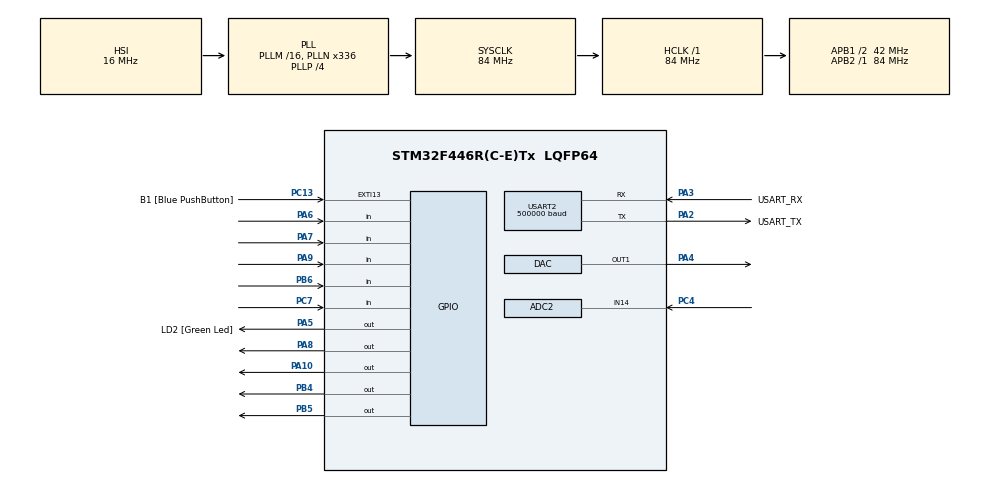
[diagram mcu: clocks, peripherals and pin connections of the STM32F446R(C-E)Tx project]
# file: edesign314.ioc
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ADC2.Channel-3\#ChannelRegularConversion=ADC_CHANNEL_14
ADC2.DMAContinuousRequests=ENABLE
ADC2.ExternalTrigConv=ADC_EXTERNALTRIGCONV_T3_TRGO
ADC2.NbrOfConversionFlag=1
ADC2.Rank-3\#ChannelRegularConversion=1
ADC2.Resolution=ADC_RESOLUTION_8B
ADC2.SamplingTime-3\#ChannelRegularConversion=ADC_SAMPLETIME_3CYCLES
DAC.DAC_Trigger=DAC_TRIGGER_T4_TRGO
Dma.ADC2.1.Direction=DMA_PERIPH_TO_MEMORY
Dma.ADC2.1.FIFOMode=DMA_FIFOMODE_DISABLE
Dma.ADC2.1.Instance=DMA2_Stream2
Dma.ADC2.1.MemDataAlignment=DMA_MDATAALIGN_BYTE
Dma.ADC2.1.MemInc=DMA_MINC_ENABLE
Dma.ADC2.1.Mode=DMA_CIRCULAR
Dma.ADC2.1.PeriphDataAlignment=DMA_PDATAALIGN_BYTE
Dma.ADC2.1.PeriphInc=DMA_PINC_DISABLE
Dma.ADC2.1.Priority=DMA_PRIORITY_LOW
Dma.DAC1.0.Direction=DMA_MEMORY_TO_PERIPH
Dma.DAC1.0.FIFOMode=DMA_FIFOMODE_DISABLE
Dma.DAC1.0.Instance=DMA1_Stream5
Dma.DAC1.0.MemDataAlignment=DMA_MDATAALIGN_HALFWORD
Dma.DAC1.0.MemInc=DMA_MINC_ENABLE
Dma.DAC1.0.Mode=DMA_NORMAL
Dma.DAC1.0.PeriphDataAlignment=DMA_PDATAALIGN_HALFWORD
Dma.DAC1.0.PeriphInc=DMA_PINC_DISABLE
Dma.DAC1.0.Priority=DMA_PRIORITY_LOW
Dma.Request0=DAC1
Dma.Request1=ADC2
Dma.Request2=USART2_TX
Dma.USART2_TX.2.Direction=DMA_MEMORY_TO_PERIPH
Dma.USART2_TX.2.FIFOMode=DMA_FIFOMODE_DISABLE
Dma.USART2_TX.2.Instance=DMA1_Stream6
Dma.USART2_TX.2.MemDataAlignment=DMA_MDATAALIGN_BYTE
Dma.USART2_TX.2.MemInc=DMA_MINC_ENABLE
Dma.USART2_TX.2.Mode=DMA_NORMAL
Dma.USART2_TX.2.PeriphDataAlignment=DMA_PDATAALIGN_BYTE
Dma.USART2_TX.2.PeriphInc=DMA_PINC_DISABLE
Dma.USART2_TX.2.Priority=DMA_PRIORITY_LOW
Mcu.Family=STM32F4
Mcu.Name=STM32F446R(C-E)Tx
Mcu.Package=LQFP64
NVIC.DMA1_Stream5_IRQn=true\:0\:0\:false\:false\:true\:false\:true
NVIC.DMA1_Stream6_IRQn=true\:0\:0\:false\:false\:true\:false\:true
NVIC.DMA2_Stream2_IRQn=true\:0\:0\:false\:false\:true\:false\:true
NVIC.PriorityGroup=NVIC_PRIORITYGROUP_0
NVIC.TIM2_IRQn=true\:0\:0\:false\:false\:true\:true\:true
PA10.Signal=GPIO_Output
PA13.GPIO_Label=TMS
PA13.Mode=Serial_Wire
PA13.Signal=SYS_JTMS-SWDIO
PA14.GPIO_Label=TCK
PA14.Mode=Serial_Wire
PA14.Signal=SYS_JTCK-SWCLK
PA2.GPIO_Label=USART_TX
PA2.Mode=Asynchronous
PA2.Signal=USART2_TX
PA3.GPIO_Label=USART_RX
PA3.Mode=Asynchronous
PA3.Signal=USART2_RX
PA4.Signal=COMP_DAC1_group
PA5.GPIO_Label=LD2 [Green Led]
PA5.Signal=GPIO_Output
PA6.GPIO_PuPd=GPIO_PULLDOWN
PA6.Signal=GPIO_Input
PA7.GPIO_PuPd=GPIO_PULLDOWN
PA7.Signal=GPIO_Input
PA8.Signal=GPIO_Output
PA9.GPIO_PuPd=GPIO_PULLDOWN
PA9.Signal=GPIO_Input
PB3.GPIO_Label=SWO
PB3.Signal=SYS_JTDO-SWO
PB4.Signal=GPIO_Output
PB5.Signal=GPIO_Output
PB6.GPIO_PuPd=GPIO_PULLDOWN
PB6.Signal=GPIO_Input
PC13.GPIO_Label=B1 [Blue PushButton]
PC13.GPIO_ModeDefaultEXTI=GPIO_MODE_IT_FALLING
PC13.Signal=GPXTI13
PC14-OSC32_IN.Mode=LSE-External-Oscillator
PC14-OSC32_IN.Signal=RCC_OSC32_IN
PC15-OSC32_OUT.Mode=LSE-External-Oscillator
PC15-OSC32_OUT.Signal=RCC_OSC32_OUT
PC4.Signal=ADCx_IN14
PC7.GPIO_PuPd=GPIO_PULLDOWN
PC7.Signal=GPIO_Input
PH0-OSC_IN.Mode=HSE-External-Oscillator
PH0-OSC_IN.Signal=RCC_OSC_IN
PH1-OSC_OUT.Mode=HSE-External-Oscillator
PH1-OSC_OUT.Signal=RCC_OSC_OUT
ProjectManager.HeapSize=0x200
ProjectManager.StackSize=0x400
ProjectManager.TargetToolchain=STM32CubeIDE
RCC.48MHZClocksFreq_Value=84000000
RCC.AHBFreq_Value=84000000
RCC.APB1CLKDivider=RCC_HCLK_DIV2
RCC.APB1Freq_Value=42000000
RCC.APB1TimFreq_Value=84000000
RCC.APB2Freq_Value=84000000
RCC.APB2TimFreq_Value=84000000
RCC.CortexFreq_Value=84000000
RCC.FLatency-AdvancedSettings=FLASH_LATENCY_2
RCC.HCLKFreq_Value=84000000
RCC.HSE_VALUE=8000000
RCC.HSI_VALUE=16000000
RCC.PLLN=336
RCC.PLLP=RCC_PLLP_DIV4
RCC.SYSCLKFreq_VALUE=84000000
RCC.SYSCLKSource=RCC_SYSCLKSOURCE_PLLCLK
RCC.USBFreq_Value=168000000
RCC.VCOOutputFreq_Value=336000000
SH.ADCx_IN14.0=ADC2_IN14,IN14
SH.COMP_DAC1_group.0=DAC_OUT1,DAC_OUT1
TIM2.Period=500
TIM2.Prescaler=41999
TIM3.Period=1905
TIM3.TIM_MasterOutputTrigger=TIM_TRGO_UPDATE
TIM4.Period=1905
TIM4.TIM_MasterOutputTrigger=TIM_TRGO_UPDATE
USART2.BaudRate=500000
USART2.VirtualMode=VM_ASYNC
VP_TIM2_VS_ClockSourceINT.Mode=Internal
VP_TIM3_VS_ClockSourceINT.Mode=Internal
VP_TIM4_VS_ClockSourceINT.Mode=Internal
board=NUCLEO-F446RE

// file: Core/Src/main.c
/* USER CODE BEGIN Header */
/**
  ******************************************************************************
  * @file           : main.c
  * @brief          : Main program body
  ******************************************************************************
  * The work of Sandra Snyman (20826702) for Design E314, 2020.
  *
  *
  * @attention
  *
  * <h2><center>&copy; Copyright (c) 2020 STMicroelectronics.
  * All rights reserved.</center></h2>
  *
  * This software component is licensed by ST under BSD 3-Clause license,
  * the "License"; You may not use this file except in compliance with the
  * License. You may obtain a copy of the License at:
  *                        opensource.org/licenses/BSD-3-Clause
  *
  ******************************************************************************
  */
/* USER CODE END Header */

#include "main.h"

/* USER CODE BEGIN Includes */
#include "sinewave.h"
/* USER CODE END Includes */

ADC_HandleTypeDef hadc2;
DMA_HandleTypeDef hdma_adc2;

DAC_HandleTypeDef hdac;
DMA_HandleTypeDef hdma_dac1;

TIM_HandleTypeDef htim2;
TIM_HandleTypeDef htim3;
TIM_HandleTypeDef htim4;

UART_HandleTypeDef huart2;
DMA_HandleTypeDef hdma_usart2_tx;

/* USER CODE BEGIN PV */

enum states{Stop, Play, Record};
enum states myState;

extern volatile uint8_t toggle;

uint8_t button1 = 0;   	//PA6
uint8_t button2 = 0;	//PB6
uint8_t button3 = 0;	//PC7
uint8_t buttonrec = 0;	//PA9
uint8_t buttonstop = 0;	//PA7

uint32_t buttonStopTick = 0;

uint16_t sine440[1024] = {0};
uint16_t sine523[1024] = {0};
uint16_t sinesum[1024] = {0};

uint8_t track[1024];
/* USER CODE END PV */

void SystemClock_Config(void);
static void MX_GPIO_Init(void);
static void MX_DMA_Init(void);
static void MX_TIM2_Init(void);
static void MX_USART2_UART_Init(void);
static void MX_DAC_Init(void);
static void MX_TIM4_Init(void);
static void MX_ADC2_Init(void);
static void MX_TIM3_Init(void);

/* USER CODE BEGIN 0 */
void HAL_ADC_ConvCpltCallback(ADC_HandleTypeDef* hadc) {
	huart2.gState = HAL_UART_STATE_READY;
	HAL_UART_Transmit_DMA(&huart2, track+512, 512);
}

void HAL_ADC_ConvHalfCpltCallback(ADC_HandleTypeDef* hadc) {
	huart2.gState = HAL_UART_STATE_READY;
	HAL_UART_Transmit_DMA(&huart2, track, 512);
}
/* USER CODE END 0 */

int main(void)
{

  /* MCU Configuration--------------------------------------------------------*/

  /* Reset of all peripherals, Initializes the Flash interface and the Systick. */
  HAL_Init();

  /* USER CODE BEGIN Init */
  wave_init();
  /* USER CODE END Init */

  /* Configure the system clock */
  SystemClock_Config();

  /* Initialize all configured peripherals */
  MX_GPIO_Init();
  MX_DMA_Init();
  MX_TIM2_Init();
  MX_USART2_UART_Init();
  MX_DAC_Init();
  MX_TIM4_Init();
  MX_ADC2_Init();
  MX_TIM3_Init();
  /* USER CODE BEGIN 2 */
  __HAL_TIM_ENABLE(&htim2);
   __HAL_TIM_ENABLE_IT(&htim2, TIM_IT_UPDATE);
   __HAL_TIM_ENABLE(&htim3);
   //HAL_TIM_Base_Start(&htim3);
   HAL_TIM_Base_Start(&htim4);

  uint8_t begin = 0; //used in every state for every track to trigger the actions that need to happen only once
  uint32_t refTick = 0;
  uint8_t playing = 0;

  uint32_t button1Tick = 0; //counter to save how long button has been high
  uint32_t button2Tick = 0;
  uint32_t button3Tick = 0;

  uint8_t startup_msg[10] = {127, 128, '2', '0', '8', '2', '6', '7', '0', '2'};
  uint8_t record_msg[10] = {127, 128, 'R', 'e', 'c', 'o', 'r', 'd', '_', '_'};
  uint8_t playback_msg[10] = {127, 128, 'P', 'l', 'a', 'y', '_', '_', '_', '_'};
  uint8_t stop_msg[10] = {127, 128, 'S', 't', 'o', 'p', '_', '_', '_', '_'};

  wave_fillbuffer(sine440, 1, 1024);
  wave_fillbuffer(sine523, 2, 1024);
  wave_fillbuffer(sinesum, 3, 1024);

  myState = Stop;
  //STOP is state 1, PLAY is state 2, RECORD is state 3
  HAL_UART_Transmit(&huart2, startup_msg, 10, 1000);
  /* USER CODE END 2 */

  /* Infinite loop */
  /* USER CODE BEGIN WHILE */
  while (1)
  {
	  refTick = HAL_GetTick();
	  if (myState == Stop) {
		  allLEDSoff();

		  //if button 1 is high, add to counter
		  if (HAL_GPIO_ReadPin(GPIOA, GPIO_PIN_6)) {
			  button1Tick += (HAL_GetTick() - refTick);
			  if (button1Tick >= 10) button1 = 1;
		  }
		  else button1Tick = 0;

		  //if button 2 is high, add to counter
		  if (HAL_GPIO_ReadPin(GPIOB, GPIO_PIN_6)) {
			  button2Tick += (HAL_GetTick() - refTick);
			  if (button2Tick >= 10) button2 = 1;
		  }
		  else button2Tick = 0;

		  //if button 3 is high, add to counter
		  if (HAL_GPIO_ReadPin(GPIOC, GPIO_PIN_7)) {
			  button3Tick += (HAL_GetTick() - refTick);
			  if (button3Tick >= 10) button3 = 1;
		  }
		  else button3Tick = 0;

		  if (HAL_GPIO_ReadPin(GPIOA, GPIO_PIN_9) && (button1 || button2 || button3)){
			  myState = Record;
			  begin = 1;
			  buttonstop = 0;
		  }
		  else if ((button1)||(button2)||(button3)) {
			  myState = Play;
			  begin = 1;
			  buttonstop = 0;
		  }
		  if (buttonstop)
			  myState = Stop;
	  }

	  if (myState == Play) {
		  if (HAL_GPIO_ReadPin(GPIOA, GPIO_PIN_7)) {
			  buttonStopTick += (HAL_GetTick() - refTick);
			  if (buttonStopTick >= 10) buttonstop = 1;
		  }
		  else {
			  buttonStopTick = 0;
		  }

		  if (button1 && !HAL_GPIO_ReadPin(GPIOA, GPIO_PIN_6)) {
			    if (begin && !playing) {
			    	//if this is the beginning of the playback, send UART message and start timer
			    	playback_msg[9] = '1';
			    	HAL_UART_Transmit(&huart2, playback_msg, 10, 1000);
					begin = 0; //to ensure this block is executed only once in playback time
					 HAL_DAC_Start_DMA(&hdac, DAC_CHANNEL_1, (uint32_t*) sine440, 1024, DAC_ALIGN_12B_R);
					 playing = 1;
			    }
			   if (!(buttonstop && !HAL_GPIO_ReadPin(GPIOA, GPIO_PIN_7))) {
				   //if not exceeded max length, and stop is not pressed, flash LED
				   HAL_GPIO_WritePin(GPIOA, GPIO_PIN_8, toggle);
			   }
			   else {
				   button1 = 0;
				   HAL_DAC_Stop_DMA(&hdac, DAC_CHANNEL_1);
				   myState = Stop;
				   playing = 0;
				   HAL_UART_Transmit(&huart2, stop_msg, 10, 1000);
			   }
		  }

		  else if (button2 && !HAL_GPIO_ReadPin(GPIOB, GPIO_PIN_6)) {
			    if (begin && !playing) {
			    	//if this is the beginning of the playback, send UART message and start timer
			    	playback_msg[9] = '2';
			    	HAL_UART_Transmit(&huart2, playback_msg, 10, 1000);
					begin = 0; //to ensure this block is executed only once in playback time
					HAL_DAC_Start_DMA(&hdac, DAC_CHANNEL_1, (uint32_t*) sine523, 1024, DAC_ALIGN_12B_R);
					playing = 1;
			    }
			   if (!(buttonstop && !HAL_GPIO_ReadPin(GPIOA, GPIO_PIN_7))) {
				   HAL_GPIO_WritePin(GPIOB, GPIO_PIN_4, toggle);
			   }
			   else {
				   button2 = 0;
				   HAL_DAC_Stop_DMA(&hdac, DAC_CHANNEL_1);
				   myState = Stop;
				   playing = 0;
				   HAL_UART_Transmit(&huart2, stop_msg, 10, 1000);
			   }
		  }
		  else if (button3 && !HAL_GPIO_ReadPin(GPIOC, GPIO_PIN_7)) {
			    if (begin && !playing) {
			    	//if this is the beginning of the playback, send UART message and start timer
			    	playback_msg[9] = '3';
			    	HAL_UART_Transmit(&huart2, playback_msg, 10, 1000);
					begin = 0; //to ensure this block is executed only once in playback time
					HAL_DAC_Start_DMA(&hdac, DAC_CHANNEL_1, (uint32_t*) sinesum, 1024, DAC_ALIGN_12B_R);
					playing = 1;
			    }
			  if (!(buttonstop && !HAL_GPIO_ReadPin(GPIOA, GPIO_PIN_7))) {
				   HAL_GPIO_WritePin(GPIOB, GPIO_PIN_5, toggle);
			   }	//LED 3
			  else {
				  button3 = 0;
				  HAL_DAC_Stop_DMA(&hdac, DAC_CHANNEL_1);
				  myState = Stop;
				  playing = 0;
				  HAL_UART_Transmit(&huart2, stop_msg, 10, 1000);
			  }
		  }
		  else myState = Stop;
	  }

	  if (myState == Record) {
		  if (HAL_GPIO_ReadPin(GPIOA, GPIO_PIN_7)) {
			  buttonStopTick += (HAL_GetTick() - refTick);
			  if (buttonStopTick >= 10) buttonstop = 1;
		  }
		  else {
			  buttonStopTick = 0;
		  }
		  if (button1 && !HAL_GPIO_ReadPin(GPIOA, GPIO_PIN_6)) {
			    if (begin) {
			    	//if this is the beginning of the recording, turn REC LED on, send UART message and start timer
			    	HAL_GPIO_WritePin(GPIOA, GPIO_PIN_10, 1);
			    	record_msg[9] = '1';
			    	HAL_UART_Transmit(&huart2, record_msg, 10, 1000);
					begin = 0; //to ensure this block is executed only once in recording time
					HAL_ADC_Start_DMA(&hadc2, (uint32_t*) track, 1024);
			    }
			  //While stop button has not been pressed, flash LED
			  if (!(buttonstop && !HAL_GPIO_ReadPin(GPIOA, GPIO_PIN_7))) {
				  HAL_GPIO_WritePin(GPIOA, GPIO_PIN_8, toggle);
			  }
			  else {
				  button1 = 0;
				  myState = Stop;
				  HAL_UART_DMAStop(&huart2);
				  HAL_UART_Transmit(&huart2, stop_msg, 10, 1000);
				  HAL_ADC_Stop_DMA(&hadc2);

			  }
		  }
		  else if (button2 && !HAL_GPIO_ReadPin(GPIOB, GPIO_PIN_6)) {
			    if (begin) {
			    	//if this is the beginning of the recording, turn REC LED on, send UART message and start timer
			    	HAL_GPIO_WritePin(GPIOA, GPIO_PIN_10, 1);
			    	record_msg[9] = '2';
			    	HAL_UART_Transmit(&huart2, record_msg, 10, 1000);
					begin = 0; //to ensure this block is executed only once in recording time
			    }
				   if (!(buttonstop && !HAL_GPIO_ReadPin(GPIOA, GPIO_PIN_7))) {
					   HAL_GPIO_WritePin(GPIOB, GPIO_PIN_4, toggle);
				   }
				   else {
					   button2 = 0;
					   myState = Stop;
					   HAL_UART_Transmit(&huart2, stop_msg, 10, 1000);
				   }
		  }
		  else if (button3 && !HAL_GPIO_ReadPin(GPIOC, GPIO_PIN_7)) {
			    if (begin) {
			    	//if this is the beginning of the recording, turn REC LED on, send UART message and start timer
			    	HAL_GPIO_WritePin(GPIOA, GPIO_PIN_10, 1);
			    	record_msg[9] = '3';
			    	HAL_UART_Transmit(&huart2, record_msg, 10, 1000);
					begin = 0; //to ensure this block is executed only once in recording time
			    }
				   if (!(buttonstop && !HAL_GPIO_ReadPin(GPIOA, GPIO_PIN_7))) {
					   HAL_GPIO_WritePin(GPIOB, GPIO_PIN_5, toggle);
				   }
				   else {
					   button3 = 0;
					   myState = Stop;
					   HAL_UART_Transmit(&huart2, stop_msg, 10, 1000);
				   }
			  }

	  }

    /* USER CODE END WHILE */

  }
}

void SystemClock_Config(void)
{
  RCC_OscInitTypeDef RCC_OscInitStruct = {0};
  RCC_ClkInitTypeDef RCC_ClkInitStruct = {0};

  /** Configure the main internal regulator output voltage
  */
  __HAL_RCC_PWR_CLK_ENABLE();
  __HAL_PWR_VOLTAGESCALING_CONFIG(PWR_REGULATOR_VOLTAGE_SCALE3);
  /** Initializes the CPU, AHB and APB busses clocks
  */
  RCC_OscInitStruct.OscillatorType = RCC_OSCILLATORTYPE_HSI;
  RCC_OscInitStruct.HSIState = RCC_HSI_ON;
  RCC_OscInitStruct.HSICalibrationValue = RCC_HSICALIBRATION_DEFAULT;
  RCC_OscInitStruct.PLL.PLLState = RCC_PLL_ON;
  RCC_OscInitStruct.PLL.PLLSource = RCC_PLLSOURCE_HSI;
  RCC_OscInitStruct.PLL.PLLM = 16;
  RCC_OscInitStruct.PLL.PLLN = 336;
  RCC_OscInitStruct.PLL.PLLP = RCC_PLLP_DIV4;
  RCC_OscInitStruct.PLL.PLLQ = 2;
  RCC_OscInitStruct.PLL.PLLR = 2;
  if (HAL_RCC_OscConfig(&RCC_OscInitStruct) != HAL_OK)
  {
    Error_Handler();
  }
  /** Initializes the CPU, AHB and APB busses clocks
  */
  RCC_ClkInitStruct.ClockType = RCC_CLOCKTYPE_HCLK|RCC_CLOCKTYPE_SYSCLK
                              |RCC_CLOCKTYPE_PCLK1|RCC_CLOCKTYPE_PCLK2;
  RCC_ClkInitStruct.SYSCLKSource = RCC_SYSCLKSOURCE_PLLCLK;
  RCC_ClkInitStruct.AHBCLKDivider = RCC_SYSCLK_DIV1;
  RCC_ClkInitStruct.APB1CLKDivider = RCC_HCLK_DIV2;
  RCC_ClkInitStruct.APB2CLKDivider = RCC_HCLK_DIV1;

  if (HAL_RCC_ClockConfig(&RCC_ClkInitStruct, FLASH_LATENCY_2) != HAL_OK)
  {
    Error_Handler();
  }
}

static void MX_ADC2_Init(void)
{

  ADC_ChannelConfTypeDef sConfig = {0};

  /** Configure the global features of the ADC (Clock, Resolution, Data Alignment and number of conversion)
  */
  hadc2.Instance = ADC2;
  hadc2.Init.ClockPrescaler = ADC_CLOCK_SYNC_PCLK_DIV4;
  hadc2.Init.Resolution = ADC_RESOLUTION_8B;
  hadc2.Init.ScanConvMode = DISABLE;
  hadc2.Init.ContinuousConvMode = DISABLE;
  hadc2.Init.DiscontinuousConvMode = DISABLE;
  hadc2.Init.ExternalTrigConvEdge = ADC_EXTERNALTRIGCONVEDGE_RISING;
  hadc2.Init.ExternalTrigConv = ADC_EXTERNALTRIGCONV_T3_TRGO;
  hadc2.Init.DataAlign = ADC_DATAALIGN_RIGHT;
  hadc2.Init.NbrOfConversion = 1;
  hadc2.Init.DMAContinuousRequests = ENABLE;
  hadc2.Init.EOCSelection = ADC_EOC_SINGLE_CONV;
  if (HAL_ADC_Init(&hadc2) != HAL_OK)
  {
    Error_Handler();
  }
  /** Configure for the selected ADC regular channel its corresponding rank in the sequencer and its sample time.
  */
  sConfig.Channel = ADC_CHANNEL_14;
  sConfig.Rank = 1;
  sConfig.SamplingTime = ADC_SAMPLETIME_3CYCLES;
  if (HAL_ADC_ConfigChannel(&hadc2, &sConfig) != HAL_OK)
  {
    Error_Handler();
  }

}

static void MX_DAC_Init(void)
{

  DAC_ChannelConfTypeDef sConfig = {0};

  /** DAC Initialization
  */
  hdac.Instance = DAC;
  if (HAL_DAC_Init(&hdac) != HAL_OK)
  {
    Error_Handler();
  }
  /** DAC channel OUT1 config
  */
  sConfig.DAC_Trigger = DAC_TRIGGER_T4_TRGO;
  sConfig.DAC_OutputBuffer = DAC_OUTPUTBUFFER_ENABLE;
  if (HAL_DAC_ConfigChannel(&hdac, &sConfig, DAC_CHANNEL_1) != HAL_OK)
  {
    Error_Handler();
  }

}

static void MX_TIM2_Init(void)
{

  TIM_ClockConfigTypeDef sClockSourceConfig = {0};
  TIM_MasterConfigTypeDef sMasterConfig = {0};

  htim2.Instance = TIM2;
  htim2.Init.Prescaler = 41999;
  htim2.Init.CounterMode = TIM_COUNTERMODE_UP;
  htim2.Init.Period = 500;
  htim2.Init.ClockDivision = TIM_CLOCKDIVISION_DIV1;
  htim2.Init.AutoReloadPreload = TIM_AUTORELOAD_PRELOAD_DISABLE;
  if (HAL_TIM_Base_Init(&htim2) != HAL_OK)
  {
    Error_Handler();
  }
  sClockSourceConfig.ClockSource = TIM_CLOCKSOURCE_INTERNAL;
  if (HAL_TIM_ConfigClockSource(&htim2, &sClockSourceConfig) != HAL_OK)
  {
    Error_Handler();
  }
  sMasterConfig.MasterOutputTrigger = TIM_TRGO_RESET;
  sMasterConfig.MasterSlaveMode = TIM_MASTERSLAVEMODE_DISABLE;
  if (HAL_TIMEx_MasterConfigSynchronization(&htim2, &sMasterConfig) != HAL_OK)
  {
    Error_Handler();
  }

}

static void MX_TIM3_Init(void)
{

  TIM_ClockConfigTypeDef sClockSourceConfig = {0};
  TIM_MasterConfigTypeDef sMasterConfig = {0};

  htim3.Instance = TIM3;
  htim3.Init.Prescaler = 0;
  htim3.Init.CounterMode = TIM_COUNTERMODE_UP;
  htim3.Init.Period = 1905;
  htim3.Init.ClockDivision = TIM_CLOCKDIVISION_DIV1;
  htim3.Init.AutoReloadPreload = TIM_AUTORELOAD_PRELOAD_DISABLE;
  if (HAL_TIM_Base_Init(&htim3) != HAL_OK)
  {
    Error_Handler();
  }
  sClockSourceConfig.ClockSource = TIM_CLOCKSOURCE_INTERNAL;
  if (HAL_TIM_ConfigClockSource(&htim3, &sClockSourceConfig) != HAL_OK)
  {
    Error_Handler();
  }
  sMasterConfig.MasterOutputTrigger = TIM_TRGO_UPDATE;
  sMasterConfig.MasterSlaveMode = TIM_MASTERSLAVEMODE_DISABLE;
  if (HAL_TIMEx_MasterConfigSynchronization(&htim3, &sMasterConfig) != HAL_OK)
  {
    Error_Handler();
  }

}

static void MX_TIM4_Init(void)
{

  TIM_ClockConfigTypeDef sClockSourceConfig = {0};
  TIM_MasterConfigTypeDef sMasterConfig = {0};

  htim4.Instance = TIM4;
  htim4.Init.Prescaler = 0;
  htim4.Init.CounterMode = TIM_COUNTERMODE_UP;
  htim4.Init.Period = 1905;
  htim4.Init.ClockDivision = TIM_CLOCKDIVISION_DIV1;
  htim4.Init.AutoReloadPreload = TIM_AUTORELOAD_PRELOAD_DISABLE;
  if (HAL_TIM_Base_Init(&htim4) != HAL_OK)
  {
    Error_Handler();
  }
  sClockSourceConfig.ClockSource = TIM_CLOCKSOURCE_INTERNAL;
  if (HAL_TIM_ConfigClockSource(&htim4, &sClockSourceConfig) != HAL_OK)
  {
    Error_Handler();
  }
  sMasterConfig.MasterOutputTrigger = TIM_TRGO_UPDATE;
  sMasterConfig.MasterSlaveMode = TIM_MASTERSLAVEMODE_DISABLE;
  if (HAL_TIMEx_MasterConfigSynchronization(&htim4, &sMasterConfig) != HAL_OK)
  {
    Error_Handler();
  }

}

static void MX_USART2_UART_Init(void)
{

  huart2.Instance = USART2;
  huart2.Init.BaudRate = 500000;
  huart2.Init.WordLength = UART_WORDLENGTH_8B;
  huart2.Init.StopBits = UART_STOPBITS_1;
  huart2.Init.Parity = UART_PARITY_NONE;
  huart2.Init.Mode = UART_MODE_TX_RX;
  huart2.Init.HwFlowCtl = UART_HWCONTROL_NONE;
  huart2.Init.OverSampling = UART_OVERSAMPLING_16;
  if (HAL_UART_Init(&huart2) != HAL_OK)
  {
    Error_Handler();
  }

}

static void MX_DMA_Init(void)
{

  /* DMA controller clock enable */
  __HAL_RCC_DMA1_CLK_ENABLE();
  __HAL_RCC_DMA2_CLK_ENABLE();

  /* DMA interrupt init */
  /* DMA1_Stream5_IRQn interrupt configuration */
  HAL_NVIC_SetPriority(DMA1_Stream5_IRQn, 0, 0);
  HAL_NVIC_EnableIRQ(DMA1_Stream5_IRQn);
  /* DMA1_Stream6_IRQn interrupt configuration */
  HAL_NVIC_SetPriority(DMA1_Stream6_IRQn, 0, 0);
  HAL_NVIC_EnableIRQ(DMA1_Stream6_IRQn);
  /* DMA2_Stream2_IRQn interrupt configuration */
  HAL_NVIC_SetPriority(DMA2_Stream2_IRQn, 0, 0);
  HAL_NVIC_EnableIRQ(DMA2_Stream2_IRQn);

}

static void MX_GPIO_Init(void)
{
  GPIO_InitTypeDef GPIO_InitStruct = {0};

  /* GPIO Ports Clock Enable */
  __HAL_RCC_GPIOC_CLK_ENABLE();
  __HAL_RCC_GPIOH_CLK_ENABLE();
  __HAL_RCC_GPIOA_CLK_ENABLE();
  __HAL_RCC_GPIOB_CLK_ENABLE();

  /*Configure GPIO pin Output Level */
  HAL_GPIO_WritePin(GPIOA, LD2_Pin|GPIO_PIN_8|GPIO_PIN_10, GPIO_PIN_RESET);

  /*Configure GPIO pin Output Level */
  HAL_GPIO_WritePin(GPIOB, GPIO_PIN_4|GPIO_PIN_5, GPIO_PIN_RESET);

  /*Configure GPIO pin : B1_Pin */
  GPIO_InitStruct.Pin = B1_Pin;
  GPIO_InitStruct.Mode = GPIO_MODE_IT_FALLING;
  GPIO_InitStruct.Pull = GPIO_NOPULL;
  HAL_GPIO_Init(B1_GPIO_Port, &GPIO_InitStruct);

  /*Configure GPIO pins : LD2_Pin PA8 PA10 */
  GPIO_InitStruct.Pin = LD2_Pin|GPIO_PIN_8|GPIO_PIN_10;
  GPIO_InitStruct.Mode = GPIO_MODE_OUTPUT_PP;
  GPIO_InitStruct.Pull = GPIO_NOPULL;
  GPIO_InitStruct.Speed = GPIO_SPEED_FREQ_LOW;
  HAL_GPIO_Init(GPIOA, &GPIO_InitStruct);

  /*Configure GPIO pins : PA6 PA7 PA9 */
  GPIO_InitStruct.Pin = GPIO_PIN_6|GPIO_PIN_7|GPIO_PIN_9;
  GPIO_InitStruct.Mode = GPIO_MODE_INPUT;
  GPIO_InitStruct.Pull = GPIO_PULLDOWN;
  HAL_GPIO_Init(GPIOA, &GPIO_InitStruct);

  /*Configure GPIO pin : PC7 */
  GPIO_InitStruct.Pin = GPIO_PIN_7;
  GPIO_InitStruct.Mode = GPIO_MODE_INPUT;
  GPIO_InitStruct.Pull = GPIO_PULLDOWN;
  HAL_GPIO_Init(GPIOC, &GPIO_InitStruct);

  /*Configure GPIO pins : PB4 PB5 */
  GPIO_InitStruct.Pin = GPIO_PIN_4|GPIO_PIN_5;
  GPIO_InitStruct.Mode = GPIO_MODE_OUTPUT_PP;
  GPIO_InitStruct.Pull = GPIO_NOPULL;
  GPIO_InitStruct.Speed = GPIO_SPEED_FREQ_LOW;
  HAL_GPIO_Init(GPIOB, &GPIO_InitStruct);

  /*Configure GPIO pin : PB6 */
  GPIO_InitStruct.Pin = GPIO_PIN_6;
  GPIO_InitStruct.Mode = GPIO_MODE_INPUT;
  GPIO_InitStruct.Pull = GPIO_PULLDOWN;
  HAL_GPIO_Init(GPIOB, &GPIO_InitStruct);

}

/* USER CODE BEGIN 4 */
void allLEDSoff() {
	  HAL_GPIO_WritePin(GPIOA, GPIO_PIN_8, 0); //1
	  HAL_GPIO_WritePin(GPIOB, GPIO_PIN_4, 0); //2
	  HAL_GPIO_WritePin(GPIOB, GPIO_PIN_5, 0); //3
	  HAL_GPIO_WritePin(GPIOA, GPIO_PIN_10, 0); //REC
}

void HAL_DAC_ConvCpltCallbackCh1(DAC_HandleTypeDef* hdac) {
	if (button1) {
		HAL_DAC_Start_DMA(hdac, DAC_CHANNEL_1, (uint32_t*) sine440, 1024, DAC_ALIGN_12B_R);
		wave_fillbuffer(sine440+512, 1, 512);
	}
	if (button2) {
		HAL_DAC_Start_DMA(hdac, DAC_CHANNEL_1, (uint32_t*) sine523, 1024, DAC_ALIGN_12B_R);
		wave_fillbuffer(sine523+512, 2, 512);
	}
	if (button3) {
		HAL_DAC_Start_DMA(hdac, DAC_CHANNEL_1, (uint32_t*) sinesum, 1024, DAC_ALIGN_12B_R);
		wave_fillbuffer(sinesum+512, 3, 512);
	}
}
void HAL_DAC_ConvHalfCpltCallbackCh1(DAC_HandleTypeDef* hdac) {
	if (button1) {
		wave_fillbuffer(sine440, 1, 512);
	}
	if (button2) {
		wave_fillbuffer(sine523, 2, 512);
	}
	if (button3) {
		wave_fillbuffer(sinesum, 3, 512);
	}
}
/* USER CODE END 4 */

void Error_Handler(void)
{
}

/************************ (C) COPYRIGHT STMicroelectronics *****END OF FILE****/
